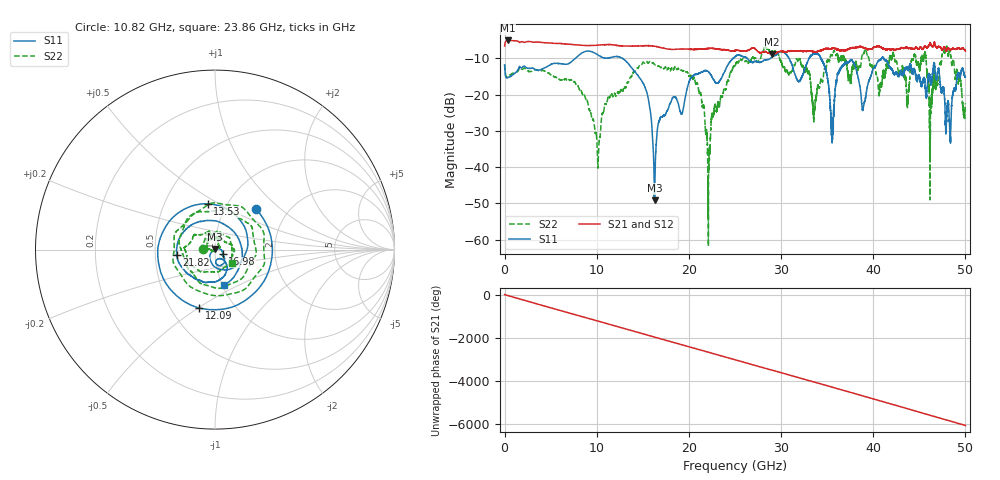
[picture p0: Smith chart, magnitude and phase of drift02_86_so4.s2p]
!Created with skrf (http://scikit-rf.org).
# Hz S RI R 50.0
!freq ReS11 ImS11 ReS21 ImS21 ReS12 ImS12 ReS22 ImS22
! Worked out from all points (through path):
!   10001 points, 300 kHz to 50 GHz, reference 50 ohm
!   highest |S21| = -5.04 dB at 325.3 MHz (marker M1); lowest = -8.9 dB at 29.05 GHz (marker M2)
!   group delay of S21, straight-line fit = 336 ps
!   lowest |S11| = -49.2 dB at 16.27 GHz (marker M3), VSWR 1.01, Z = 49.9 + j0.323 ohm
!   |S11| at or under -10 dB: start of sweep to 7.669 GHz; 12.81 GHz to 24.79 GHz (11.97 GHz wide, 63.7 % of centre); 41.14 GHz to end of sweep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
!   |S22| runs from -61.8 to -6.6 dB; largest |S21 - S12| = 0.029
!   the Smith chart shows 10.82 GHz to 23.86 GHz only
!   S11 on the Smith chart (normalised r, x): 10.82 GHz: 1.39, +0.70; 12.09 GHz: 0.69, -0.51; 13.53 GHz: 0.81, +0.44; 16.98 GHz: 1.09, -0.06; 21.82 GHz: 0.65, -0.04; 23.86 GHz: 1.01, -0.42
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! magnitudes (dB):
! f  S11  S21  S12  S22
! 300 kHz  -11.8  -6.6  -6.5  -11.7
! 325.3 MHz  -15.4  -5.0  -5.0  -15.1
! 8.335 GHz  -8.6  -6.4  -6.4  -19.1
! 10.11 GHz  -9.0  -6.3  -6.3  -39.1
! 10.82 GHz  -9.9  -6.2  -6.2  -23.6
! 12.09 GHz  -9.4  -6.4  -6.4  -20.4
! 13.53 GHz  -11.8  -6.6  -6.6  -16.0
! 16.27 GHz  -49.2  -6.6  -6.6  -11.7
! 16.67 GHz  -28.0  -6.8  -6.8  -12.1
! 16.98 GHz  -26.1  -7.0  -7.0  -12.5
! 21.82 GHz  -13.3  -7.3  -7.4  -30.3
! 23.86 GHz  -13.7  -7.6  -7.5  -18.3
! 25 GHz  -9.5  -7.8  -7.8  -12.0
! 29.05 GHz  -9.6  -8.9  -8.8  -8.1
! 33.34 GHz  -9.1  -8.0  -8.0  -20.1
! 35.55 GHz  -31.2  -7.2  -7.2  -9.1
! 36.78 GHz  -11.8  -7.9  -7.9  -9.4
! 41.67 GHz  -11.8  -7.4  -7.5  -12.0
! 45.5 GHz  -15.4  -6.9  -6.9  -9.7
! 46.25 GHz  -17.4  -6.0  -6.1  -21.8
! 48.12 GHz  -22.5  -7.2  -7.1  -9.3
! 50 GHz  -15.2  -7.9  -7.9  -22.4
